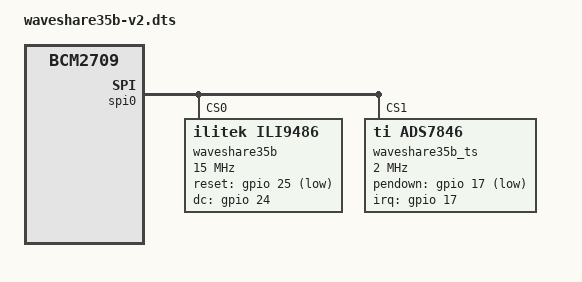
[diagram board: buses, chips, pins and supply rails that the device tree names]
/*
 * Device Tree overlay for waveshare 3.5inch IPS LCD
 *
 */

/dts-v1/;
/plugin/;

/ {
	compatible = "brcm,bcm2835", "brcm,bcm2708", "brcm,bcm2709";

	fragment@0 {
		target = <&spi0>;
		__overlay__ {
			status = "okay";

			spidev@0 {
				status = "disabled";
			};

			spidev@1 {
				status = "disabled";
			};
		};
	};

	fragment@1 {
		target = <&gpio>;
		__overlay__ {
			waveshare35b_pins: waveshare35b_pins {
				brcm,pins = <17 25 24>;
				brcm,function = <0 0 0>; /* in in in */
			};
		};
	};

	fragment@2 {
		target = <&spi0>;
		__overlay__ {
			/* needed to avoid dtc warning */
			#address-cells = <1>;
			#size-cells = <0>;

			waveshare35b: waveshare35b@0 {
				compatible = "ilitek,ili9486";
				reg = <0>;
				pinctrl-names = "default";
				pinctrl-0 = <&waveshare35b_pins>;

				spi-max-frequency = <15000000>;
				txbuflen = <32768>;
				rotate = <90>;
				bgr = <0>;
				fps = <30>;
				buswidth = <8>;
				regwidth = <16>;
				reset-gpios = <&gpio 25 1>;
				dc-gpios = <&gpio 24 0>;
				debug = <0>;

				init = <0x10000b0 0x0
				        0x1000011
				        0x20000ff
				        0x1000021
				        0x100003a 0x55
				        0x10000c2 0x33
				        0x10000c5 0x0 0x1e 0x80
				        0x1000036 0x28
				        0x10000b1 0xb0
				        0x10000e0 0x0 0x13 0x18 0x4 0xf 0x6 0x3a 0x56 0x4d 0x3 0xa 0x6 0x30 0x3e 0xf
				        0x10000e1 0x0 0x13 0x18 0x1 0x11 0x6 0x38 0x34 0x4d 0x6 0xd 0xb 0x31 0x37 0xf 
				        0x1000011
                                        0x20000ff
				        0x1000029>;
			};

			waveshare35b_ts: waveshare35b-ts@1 {
				compatible = "ti,ads7846";
				reg = <1>;

				spi-max-frequency = <2000000>;
				interrupts = <17 2>; /* high-to-low edge triggered */
				interrupt-parent = <&gpio>;
				pendown-gpio = <&gpio 17 1>;
				ti,x-plate-ohms = /bits/ 16 <60>;
				ti,pressure-max = /bits/ 16 <255>;
			};
		};
	};
	__overrides__ {
		speed =		<&waveshare35b>,"spi-max-frequency:0";
		txbuflen =	<&waveshare35b>,"txbuflen:0";
		rotate =	<&waveshare35b>,"rotate:0";
		fps =		<&waveshare35b>,"fps:0";
		bgr =		<&waveshare35b>,"bgr:0";
		debug =		<&waveshare35b>,"debug:0";
		swapxy =	<&waveshare35b_ts>,"ti,swap-xy?";
	};
};
